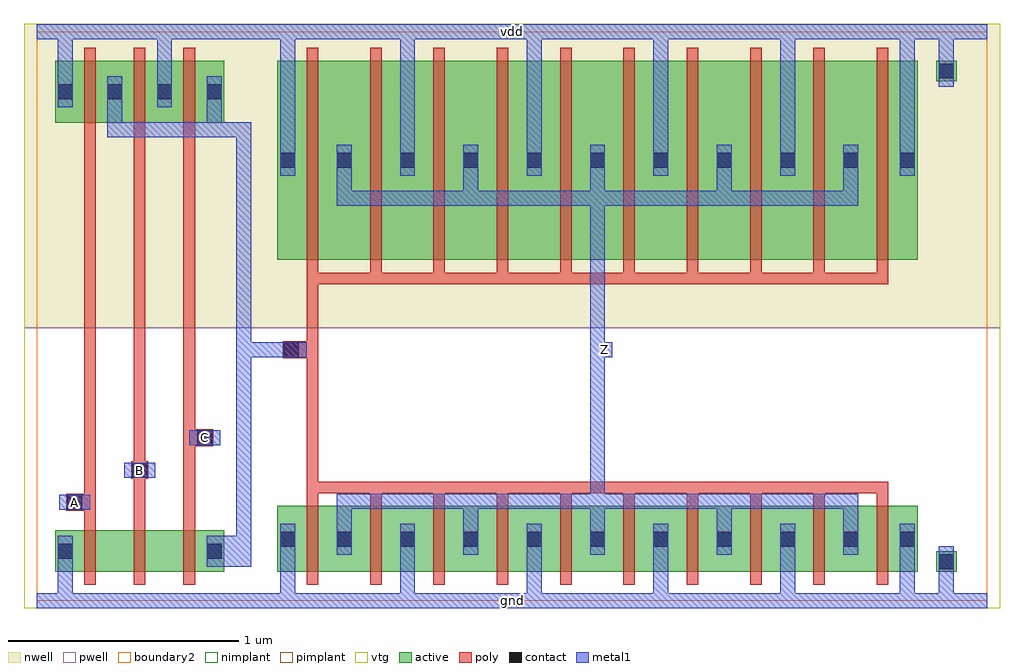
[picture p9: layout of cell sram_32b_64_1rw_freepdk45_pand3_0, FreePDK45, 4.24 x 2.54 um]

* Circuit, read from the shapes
.subckt sram_32b_64_1rw_freepdk45_pand3_0 A B C Z gnd vdd
M1 sram_32b_64_1rw_freepdk45_pnand3_0_0/sram_32b_64_1rw_freepdk45_nmos_m1_w0_180_sm1_dactive_3/D A gnd gnd nfet w=0.18u l=0.05u
M2 sram_32b_64_1rw_freepdk45_pnand3_0_0/sram_32b_64_1rw_freepdk45_nmos_m1_w0_180_sactive_dactive_4/D B sram_32b_64_1rw_freepdk45_pnand3_0_0/sram_32b_64_1rw_freepdk45_nmos_m1_w0_180_sm1_dactive_3/D gnd nfet w=0.18u l=0.05u
M3 sram_32b_64_1rw_freepdk45_pdriver_3_1/A C sram_32b_64_1rw_freepdk45_pnand3_0_0/sram_32b_64_1rw_freepdk45_nmos_m1_w0_180_sactive_dactive_4/D gnd nfet w=0.18u l=0.05u
M4 Z sram_32b_64_1rw_freepdk45_pdriver_3_1/A gnd gnd nfet w=0.2875u l=0.05u m=10
M5 sram_32b_64_1rw_freepdk45_pdriver_3_1/A A vdd vdd pfet w=0.27u l=0.05u
M6 vdd B sram_32b_64_1rw_freepdk45_pdriver_3_1/A vdd pfet w=0.27u l=0.05u
M7 sram_32b_64_1rw_freepdk45_pdriver_3_1/A C vdd vdd pfet w=0.27u l=0.05u
M8 Z sram_32b_64_1rw_freepdk45_pdriver_3_1/A vdd vdd pfet w=0.865u l=0.05u m=10
.ends

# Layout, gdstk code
import gdstk
lib = gdstk.Library(unit=1e-6, precision=5e-10)
def R(c, l, rs):  # rectangles x0, y0, x1, y1
    for r in rs: c.add(gdstk.rectangle(r[:2], r[2:], *l))
def A(c, l, x, y, w, h, nx, ny, dx, dy):  # array of equal rectangles
    R(c, l, [(x+i*dx, y+j*dy, x+i*dx+w, y+j*dy+h) for i in range(nx) for j in range(ny)])
active = (1, 0)
pwell = (2, 0)
nwell = (3, 0)
nimplant = (4, 0)
pimplant = (5, 0)
vtg = (6, 0)
poly = (9, 0)
contact = (10, 0)
metal1 = (11, 0)
boundary2 = (239, 0)

sram_32b_64_1rw_freepdk4 = lib.new_cell('sram_32b_64_1rw_freepdk45_contact_11')
R(sram_32b_64_1rw_freepdk4, active, [(0,0.0225,0.09,0.1125)])
R(sram_32b_64_1rw_freepdk4, nwell, [(-0.055,-0.0325,0.145,0.1675)])
R(sram_32b_64_1rw_freepdk4, pimplant, [(0,0.0225,0.09,0.1125)])
R(sram_32b_64_1rw_freepdk4, contact, [(0.0125,0.035,0.0775,0.1)])
R(sram_32b_64_1rw_freepdk4, metal1, [(0.0125,0,0.0775,0.135)])
R(sram_32b_64_1rw_freepdk4, boundary2, [(-0.055,-0.0325,0.145,0.1675)])

c_sram_32b_64_1rw_freepdk4 = lib.new_cell('sram_32b_64_1rw_freepdk45_pmos_m1_w0_270_sm1_dm1')
R(c_sram_32b_64_1rw_freepdk4, active, [(0,0,0.305,0.27)])
R(c_sram_32b_64_1rw_freepdk4, nwell, [(-0.08,-0.08,0.385,0.35)])
R(c_sram_32b_64_1rw_freepdk4, pimplant, [(0,0,0.305,0.27)])
R(c_sram_32b_64_1rw_freepdk4, vtg, [(-0.08,-0.08,0.385,0.35)])
R(c_sram_32b_64_1rw_freepdk4, poly, [(0.1275,-0.055,0.1775,0.325), (0.1275,-0.055,0.1775,0.325)])
R(c_sram_32b_64_1rw_freepdk4, metal1, [(0.0125,0.0675,0.0775,0.2025), (0.2275,0.0675,0.2925,0.2025)])
R(c_sram_32b_64_1rw_freepdk4, boundary2, [(-0.08,-0.08,0.385,0.35)])
c_sram_32b_64_1rw_freepdk4.add(gdstk.Reference(sram_32b_64_1rw_freepdk4, (0,0.0675)))
c_sram_32b_64_1rw_freepdk4.add(gdstk.Reference(sram_32b_64_1rw_freepdk4, (0.215,0.0675)))
c_sram_32b_64_1rw_freepdk4.add(gdstk.Label('G', (0.1525,0.135), layer=9, texttype=0))
c_sram_32b_64_1rw_freepdk4.add(gdstk.Label('S', (0.045,0.135), layer=11, texttype=0))
c_sram_32b_64_1rw_freepdk4.add(gdstk.Label('D', (0.26,0.135), layer=11, texttype=0))

c_sram_32b_64_1rw_freepdk4_ = lib.new_cell('sram_32b_64_1rw_freepdk45_contact_10')
R(c_sram_32b_64_1rw_freepdk4_, active, [(0,0.0225,0.09,0.1125)])
R(c_sram_32b_64_1rw_freepdk4_, pwell, [(-0.055,-0.0325,0.145,0.1675)])
R(c_sram_32b_64_1rw_freepdk4_, nimplant, [(0,0.0225,0.09,0.1125)])
R(c_sram_32b_64_1rw_freepdk4_, contact, [(0.0125,0.035,0.0775,0.1)])
R(c_sram_32b_64_1rw_freepdk4_, metal1, [(0.0125,0,0.0775,0.135)])
R(c_sram_32b_64_1rw_freepdk4_, boundary2, [(-0.055,-0.0325,0.145,0.1675)])

c_sram_32b_64_1rw_freepdk4__ = lib.new_cell('sram_32b_64_1rw_freepdk45_nmos_m1_w0_180_sm1_dactive')
R(c_sram_32b_64_1rw_freepdk4__, active, [(0,0,0.305,0.18), (0.215,0.045,0.305,0.135)])
R(c_sram_32b_64_1rw_freepdk4__, pwell, [(-0.08,-0.08,0.385,0.26)])
R(c_sram_32b_64_1rw_freepdk4__, nimplant, [(0,0,0.305,0.18)])
R(c_sram_32b_64_1rw_freepdk4__, vtg, [(-0.08,-0.08,0.385,0.26)])
R(c_sram_32b_64_1rw_freepdk4__, poly, [(0.1275,-0.055,0.1775,0.235), (0.1275,-0.055,0.1775,0.235)])
R(c_sram_32b_64_1rw_freepdk4__, metal1, [(0.0125,0.0225,0.0775,0.1575)])
R(c_sram_32b_64_1rw_freepdk4__, boundary2, [(-0.08,-0.08,0.385,0.26)])
c_sram_32b_64_1rw_freepdk4__.add(gdstk.Reference(c_sram_32b_64_1rw_freepdk4_, (0,0.0225)))
c_sram_32b_64_1rw_freepdk4__.add(gdstk.Label('G', (0.1525,0.09), layer=9, texttype=0))
c_sram_32b_64_1rw_freepdk4__.add(gdstk.Label('S', (0.045,0.09), layer=11, texttype=0))
c_sram_32b_64_1rw_freepdk4__.add(gdstk.Label('D', (0.26,0.09), layer=1, texttype=0))

c_sram_32b_64_1rw_freepdk4___ = lib.new_cell('sram_32b_64_1rw_freepdk45_nmos_m1_w0_180_sactive_dactive')
R(c_sram_32b_64_1rw_freepdk4___, active, [(0,0,0.305,0.18), (0,0.045,0.09,0.135), (0.215,0.045,0.305,0.135)])
R(c_sram_32b_64_1rw_freepdk4___, pwell, [(-0.08,-0.08,0.385,0.26)])
R(c_sram_32b_64_1rw_freepdk4___, nimplant, [(0,0,0.305,0.18)])
R(c_sram_32b_64_1rw_freepdk4___, vtg, [(-0.08,-0.08,0.385,0.26)])
R(c_sram_32b_64_1rw_freepdk4___, poly, [(0.1275,-0.055,0.1775,0.235), (0.1275,-0.055,0.1775,0.235)])
R(c_sram_32b_64_1rw_freepdk4___, boundary2, [(-0.08,-0.08,0.385,0.26)])
c_sram_32b_64_1rw_freepdk4___.add(gdstk.Label('G', (0.1525,0.09), layer=9, texttype=0))
c_sram_32b_64_1rw_freepdk4___.add(gdstk.Label('S', (0.045,0.09), layer=1, texttype=0))
c_sram_32b_64_1rw_freepdk4___.add(gdstk.Label('D', (0.26,0.09), layer=1, texttype=0))

c_sram_32b_64_1rw_freepdk4____ = lib.new_cell('sram_32b_64_1rw_freepdk45_nmos_m1_w0_180_sactive_dm1')
R(c_sram_32b_64_1rw_freepdk4____, active, [(0,0,0.305,0.18), (0,0.045,0.09,0.135)])
R(c_sram_32b_64_1rw_freepdk4____, pwell, [(-0.08,-0.08,0.385,0.26)])
R(c_sram_32b_64_1rw_freepdk4____, nimplant, [(0,0,0.305,0.18)])
R(c_sram_32b_64_1rw_freepdk4____, vtg, [(-0.08,-0.08,0.385,0.26)])
R(c_sram_32b_64_1rw_freepdk4____, poly, [(0.1275,-0.055,0.1775,0.235), (0.1275,-0.055,0.1775,0.235)])
R(c_sram_32b_64_1rw_freepdk4____, metal1, [(0.2275,0.0225,0.2925,0.1575)])
R(c_sram_32b_64_1rw_freepdk4____, boundary2, [(-0.08,-0.08,0.385,0.26)])
c_sram_32b_64_1rw_freepdk4____.add(gdstk.Reference(c_sram_32b_64_1rw_freepdk4_, (0.215,0.0225)))
c_sram_32b_64_1rw_freepdk4____.add(gdstk.Label('G', (0.1525,0.09), layer=9, texttype=0))
c_sram_32b_64_1rw_freepdk4____.add(gdstk.Label('S', (0.045,0.09), layer=1, texttype=0))
c_sram_32b_64_1rw_freepdk4____.add(gdstk.Label('D', (0.26,0.09), layer=11, texttype=0))

c_sram_32b_64_1rw_freepdk4_____ = lib.new_cell('sram_32b_64_1rw_freepdk45_contact_14')
R(c_sram_32b_64_1rw_freepdk4_____, poly, [(0.03,0,0.105,0.075)])
R(c_sram_32b_64_1rw_freepdk4_____, contact, [(0.035,0.005,0.1,0.07)])
R(c_sram_32b_64_1rw_freepdk4_____, metal1, [(0,0.005,0.135,0.07)])
R(c_sram_32b_64_1rw_freepdk4_____, boundary2, [(0,0,0.135,0.075)])

c_sram_32b_64_1rw_freepdk4______ = lib.new_cell('sram_32b_64_1rw_freepdk45_pnand3_0')
R(c_sram_32b_64_1rw_freepdk4______, pwell, [(-0.055,-0.0325,1.02,1.185)])
R(c_sram_32b_64_1rw_freepdk4______, nwell, [(-0.055,1.185,1.02,2.505)])
R(c_sram_32b_64_1rw_freepdk4______, vtg, [(-0.055,-0.0325,1.02,1.185), (-0.055,1.185,1.02,2.505)])
A(c_sram_32b_64_1rw_freepdk4______, poly, 0.2075, 0.36, 0.05, 1.66, 3, 1, 0.215, 0)
R(c_sram_32b_64_1rw_freepdk4______, poly, [(0.165,0.39,0.2075,0.465), (0.4225,0.53,0.4475,0.605), (0.6375,0.67,0.73,0.745)])
R(c_sram_32b_64_1rw_freepdk4______, metal1, [(0,-0.0325,0.965,0.0325), (0.0925,-0.0325,0.1575,0.1475), (0.77,0.1475,0.9,0.2825), (0.8675,0.1475,0.9325,2.045), (0.0975,0.395,0.2325,0.46), (0.38,0.535,0.515,0.6), (0.6625,0.675,0.7975,0.74), (0.3075,2.0125,0.3725,2.0775), (0.34,2.0125,0.9,2.0775), (0.7375,2.0125,0.8025,2.0775), (0.77,2.0125,0.9,2.0775), (0.8675,2.0125,0.9325,2.0775), (0.3075,2.045,0.3725,2.21), (0.7375,2.045,0.8025,2.21), (0.0925,2.1425,0.1575,2.5025), (0.5225,2.1425,0.5875,2.5025), (0,2.4375,0.965,2.5025)])
R(c_sram_32b_64_1rw_freepdk4______, boundary2, [(0,0,0.965,2.47), (0,0,0.965,2.47)])
c_sram_32b_64_1rw_freepdk4______.add(gdstk.Reference(c_sram_32b_64_1rw_freepdk4, (0.08,2.075)))
c_sram_32b_64_1rw_freepdk4______.add(gdstk.Reference(c_sram_32b_64_1rw_freepdk4, (0.295,2.075)))
c_sram_32b_64_1rw_freepdk4______.add(gdstk.Reference(c_sram_32b_64_1rw_freepdk4, (0.51,2.075)))
c_sram_32b_64_1rw_freepdk4______.add(gdstk.Reference(c_sram_32b_64_1rw_freepdk4__, (0.08,0.125)))
c_sram_32b_64_1rw_freepdk4______.add(gdstk.Reference(c_sram_32b_64_1rw_freepdk4___, (0.295,0.125)))
c_sram_32b_64_1rw_freepdk4______.add(gdstk.Reference(c_sram_32b_64_1rw_freepdk4____, (0.51,0.125)))
c_sram_32b_64_1rw_freepdk4______.add(gdstk.Reference(c_sram_32b_64_1rw_freepdk4_____, (0.0975,0.39)))
c_sram_32b_64_1rw_freepdk4______.add(gdstk.Reference(c_sram_32b_64_1rw_freepdk4_____, (0.38,0.53)))
c_sram_32b_64_1rw_freepdk4______.add(gdstk.Reference(c_sram_32b_64_1rw_freepdk4_____, (0.6625,0.67)))
c_sram_32b_64_1rw_freepdk4______.add(gdstk.Label('A', (0.165,0.4275), layer=11, texttype=0))
c_sram_32b_64_1rw_freepdk4______.add(gdstk.Label('B', (0.4475,0.5675), layer=11, texttype=0))
c_sram_32b_64_1rw_freepdk4______.add(gdstk.Label('C', (0.73,0.7075), layer=11, texttype=0))
c_sram_32b_64_1rw_freepdk4______.add(gdstk.Label('Z', (0.9,2.045), layer=11, texttype=0))
c_sram_32b_64_1rw_freepdk4______.add(gdstk.Label('gnd', (0.4825,0), layer=11, texttype=0))
c_sram_32b_64_1rw_freepdk4______.add(gdstk.Label('vdd', (0.4825,2.47), layer=11, texttype=0))

c_sram_32b_64_1rw_freepdk4_______ = lib.new_cell('sram_32b_64_1rw_freepdk45_pmos_m10_w0_865_sm1_dm1_da_p')
R(c_sram_32b_64_1rw_freepdk4_______, active, [(0,0,2.78,0.865)])
R(c_sram_32b_64_1rw_freepdk4_______, nwell, [(-0.08,-0.08,2.86,0.945)])
R(c_sram_32b_64_1rw_freepdk4_______, pimplant, [(0,0,2.78,0.865)])
R(c_sram_32b_64_1rw_freepdk4_______, vtg, [(-0.08,-0.08,2.86,0.945)])
A(c_sram_32b_64_1rw_freepdk4_______, poly, 0.1275, -0.055, 0.05, 0.975, 10, 1, 0.275, 0)
R(c_sram_32b_64_1rw_freepdk4_______, poly, [(0.1275,-0.105,2.6525,-0.055)])
A(c_sram_32b_64_1rw_freepdk4_______, metal1, 0.2575, 0.2675, 0.065, 0.165, 5, 1, 0.55, 0)
A(c_sram_32b_64_1rw_freepdk4_______, metal1, 0.5325, 0.365, 0.065, 0.135, 4, 1, 0.55, 0)
R(c_sram_32b_64_1rw_freepdk4_______, metal1, [(0.2575,0.235,2.5225,0.3), (0.0125,0.365,0.0775,0.5), (2.7025,0.365,2.7675,0.5)])
R(c_sram_32b_64_1rw_freepdk4_______, boundary2, [(-0.08,-0.105,2.86,0.945)])
c_sram_32b_64_1rw_freepdk4_______.add(gdstk.Reference(sram_32b_64_1rw_freepdk4, (0,0.365)))
c_sram_32b_64_1rw_freepdk4_______.add(gdstk.Reference(sram_32b_64_1rw_freepdk4, (0.245,0.365)))
c_sram_32b_64_1rw_freepdk4_______.add(gdstk.Reference(sram_32b_64_1rw_freepdk4, (0.52,0.365)))
c_sram_32b_64_1rw_freepdk4_______.add(gdstk.Reference(sram_32b_64_1rw_freepdk4, (0.795,0.365)))
c_sram_32b_64_1rw_freepdk4_______.add(gdstk.Reference(sram_32b_64_1rw_freepdk4, (1.07,0.365)))
c_sram_32b_64_1rw_freepdk4_______.add(gdstk.Reference(sram_32b_64_1rw_freepdk4, (1.345,0.365)))
c_sram_32b_64_1rw_freepdk4_______.add(gdstk.Reference(sram_32b_64_1rw_freepdk4, (1.62,0.365)))
c_sram_32b_64_1rw_freepdk4_______.add(gdstk.Reference(sram_32b_64_1rw_freepdk4, (1.895,0.365)))
c_sram_32b_64_1rw_freepdk4_______.add(gdstk.Reference(sram_32b_64_1rw_freepdk4, (2.17,0.365)))
c_sram_32b_64_1rw_freepdk4_______.add(gdstk.Reference(sram_32b_64_1rw_freepdk4, (2.445,0.365)))
c_sram_32b_64_1rw_freepdk4_______.add(gdstk.Reference(sram_32b_64_1rw_freepdk4, (2.69,0.365)))
c_sram_32b_64_1rw_freepdk4_______.add(gdstk.Label('G', (1.39,-0.08), layer=9, texttype=0))
c_sram_32b_64_1rw_freepdk4_______.add(gdstk.Label('S', (2.215,0.4325), layer=11, texttype=0))
c_sram_32b_64_1rw_freepdk4_______.add(gdstk.Label('S', (1.115,0.4325), layer=11, texttype=0))
c_sram_32b_64_1rw_freepdk4_______.add(gdstk.Label('S', (0.565,0.4325), layer=11, texttype=0))
c_sram_32b_64_1rw_freepdk4_______.add(gdstk.Label('S', (2.735,0.4325), layer=11, texttype=0))
c_sram_32b_64_1rw_freepdk4_______.add(gdstk.Label('S', (0.045,0.4325), layer=11, texttype=0))
c_sram_32b_64_1rw_freepdk4_______.add(gdstk.Label('S', (1.665,0.4325), layer=11, texttype=0))
c_sram_32b_64_1rw_freepdk4_______.add(gdstk.Label('D', (1.39,0.2675), layer=11, texttype=0))

c_sram_32b_64_1rw_freepdk4________ = lib.new_cell('sram_32b_64_1rw_freepdk45_nmos_m10_w0_288_sm1_dm1_da_p')
R(c_sram_32b_64_1rw_freepdk4________, active, [(0,0,2.78,0.2875)])
R(c_sram_32b_64_1rw_freepdk4________, pwell, [(-0.08,-0.08,2.86,0.3675)])
R(c_sram_32b_64_1rw_freepdk4________, nimplant, [(0,0,2.78,0.2875)])
R(c_sram_32b_64_1rw_freepdk4________, vtg, [(-0.08,-0.08,2.86,0.3675)])
A(c_sram_32b_64_1rw_freepdk4________, poly, 0.1275, -0.055, 0.05, 0.3975, 10, 1, 0.275, 0)
R(c_sram_32b_64_1rw_freepdk4________, poly, [(0.1275,0.3425,2.6525,0.3925)])
A(c_sram_32b_64_1rw_freepdk4________, metal1, 0.5325, 0.075, 0.065, 0.135, 4, 1, 0.55, 0)
A(c_sram_32b_64_1rw_freepdk4________, metal1, 0.2575, 0.145, 0.065, 0.165, 5, 1, 0.55, 0)
R(c_sram_32b_64_1rw_freepdk4________, metal1, [(0.0125,0.075,0.0775,0.21), (2.7025,0.075,2.7675,0.21), (0.2575,0.275,2.5225,0.34)])
R(c_sram_32b_64_1rw_freepdk4________, boundary2, [(-0.08,-0.08,2.86,0.3925)])
c_sram_32b_64_1rw_freepdk4________.add(gdstk.Reference(c_sram_32b_64_1rw_freepdk4_, (0,0.075)))
c_sram_32b_64_1rw_freepdk4________.add(gdstk.Reference(c_sram_32b_64_1rw_freepdk4_, (0.245,0.075)))
c_sram_32b_64_1rw_freepdk4________.add(gdstk.Reference(c_sram_32b_64_1rw_freepdk4_, (0.52,0.075)))
c_sram_32b_64_1rw_freepdk4________.add(gdstk.Reference(c_sram_32b_64_1rw_freepdk4_, (0.795,0.075)))
c_sram_32b_64_1rw_freepdk4________.add(gdstk.Reference(c_sram_32b_64_1rw_freepdk4_, (1.07,0.075)))
c_sram_32b_64_1rw_freepdk4________.add(gdstk.Reference(c_sram_32b_64_1rw_freepdk4_, (1.345,0.075)))
c_sram_32b_64_1rw_freepdk4________.add(gdstk.Reference(c_sram_32b_64_1rw_freepdk4_, (1.62,0.075)))
c_sram_32b_64_1rw_freepdk4________.add(gdstk.Reference(c_sram_32b_64_1rw_freepdk4_, (1.895,0.075)))
c_sram_32b_64_1rw_freepdk4________.add(gdstk.Reference(c_sram_32b_64_1rw_freepdk4_, (2.17,0.075)))
c_sram_32b_64_1rw_freepdk4________.add(gdstk.Reference(c_sram_32b_64_1rw_freepdk4_, (2.445,0.075)))
c_sram_32b_64_1rw_freepdk4________.add(gdstk.Reference(c_sram_32b_64_1rw_freepdk4_, (2.69,0.075)))
c_sram_32b_64_1rw_freepdk4________.add(gdstk.Label('G', (1.39,0.3675), layer=9, texttype=0))
c_sram_32b_64_1rw_freepdk4________.add(gdstk.Label('S', (1.665,0.1425), layer=11, texttype=0))
c_sram_32b_64_1rw_freepdk4________.add(gdstk.Label('S', (2.215,0.1425), layer=11, texttype=0))
c_sram_32b_64_1rw_freepdk4________.add(gdstk.Label('S', (1.115,0.1425), layer=11, texttype=0))
c_sram_32b_64_1rw_freepdk4________.add(gdstk.Label('S', (0.045,0.1425), layer=11, texttype=0))
c_sram_32b_64_1rw_freepdk4________.add(gdstk.Label('S', (0.565,0.1425), layer=11, texttype=0))
c_sram_32b_64_1rw_freepdk4________.add(gdstk.Label('S', (2.735,0.1425), layer=11, texttype=0))
c_sram_32b_64_1rw_freepdk4________.add(gdstk.Label('D', (1.39,0.3075), layer=11, texttype=0))

c_sram_32b_64_1rw_freepdk4_________ = lib.new_cell('sram_32b_64_1rw_freepdk45_contact_12')
R(c_sram_32b_64_1rw_freepdk4_________, active, [(0,0.0225,0.09,0.1125)])
R(c_sram_32b_64_1rw_freepdk4_________, nwell, [(-0.055,-0.0325,0.145,0.1675)])
R(c_sram_32b_64_1rw_freepdk4_________, nimplant, [(0,0.0225,0.09,0.1125)])
R(c_sram_32b_64_1rw_freepdk4_________, contact, [(0.0125,0.035,0.0775,0.1)])
R(c_sram_32b_64_1rw_freepdk4_________, metal1, [(0.0125,0,0.0775,0.135)])
R(c_sram_32b_64_1rw_freepdk4_________, boundary2, [(-0.055,-0.0325,0.145,0.1675)])

c_sram_32b_64_1rw_freepdk4__________ = lib.new_cell('sram_32b_64_1rw_freepdk45_contact_13')
R(c_sram_32b_64_1rw_freepdk4__________, active, [(0,0.0225,0.09,0.1125)])
R(c_sram_32b_64_1rw_freepdk4__________, pwell, [(-0.055,-0.0325,0.145,0.1675)])
R(c_sram_32b_64_1rw_freepdk4__________, pimplant, [(0,0.0225,0.09,0.1125)])
R(c_sram_32b_64_1rw_freepdk4__________, contact, [(0.0125,0.035,0.0775,0.1)])
R(c_sram_32b_64_1rw_freepdk4__________, metal1, [(0.0125,0,0.0775,0.135)])
R(c_sram_32b_64_1rw_freepdk4__________, boundary2, [(-0.055,-0.0325,0.145,0.1675)])

c_sram_32b_64_1rw_freepdk4___________ = lib.new_cell('sram_32b_64_1rw_freepdk45_pinv_14')
R(c_sram_32b_64_1rw_freepdk4___________, pwell, [(-0.055,-0.0325,3.2175,1.185)])
R(c_sram_32b_64_1rw_freepdk4___________, nwell, [(-0.055,1.185,3.2175,2.505)])
R(c_sram_32b_64_1rw_freepdk4___________, vtg, [(-0.055,-0.0325,3.2175,1.185), (-0.055,1.185,3.2175,2.505)])
R(c_sram_32b_64_1rw_freepdk4___________, poly, [(0.2075,0.5175,0.2575,1.375), (0.14,1.0525,0.2075,1.1275)])
A(c_sram_32b_64_1rw_freepdk4___________, metal1, 0.6125, -0.0325, 0.065, 0.2325, 4, 1, 0.55, 0)
A(c_sram_32b_64_1rw_freepdk4___________, metal1, 0.6125, 1.845, 0.065, 0.6575, 4, 1, 0.55, 0)
R(c_sram_32b_64_1rw_freepdk4___________, metal1, [(0,-0.0325,3.1625,0.0325), (0.0925,-0.0325,0.1575,0.2), (2.7825,-0.0325,2.8475,0.2), (2.9525,0,3.0175,0.17), (1.4375,0.4,1.5025,1.78), (0.0725,1.0575,0.2075,1.1225), (1.47,1.0575,1.535,1.1225), (0.0925,1.845,0.1575,2.5025), (2.7825,1.845,2.8475,2.5025), (2.9525,2.3,3.0175,2.47), (0,2.4375,3.1625,2.5025)])
R(c_sram_32b_64_1rw_freepdk4___________, boundary2, [(0,0,3.1625,2.47), (0,0,3.1625,2.47)])
c_sram_32b_64_1rw_freepdk4___________.add(gdstk.Reference(c_sram_32b_64_1rw_freepdk4_______, (0.08,1.48)))
c_sram_32b_64_1rw_freepdk4___________.add(gdstk.Reference(c_sram_32b_64_1rw_freepdk4________, (0.08,0.125)))
c_sram_32b_64_1rw_freepdk4___________.add(gdstk.Reference(c_sram_32b_64_1rw_freepdk4_________, (2.94,2.2325)))
c_sram_32b_64_1rw_freepdk4___________.add(gdstk.Reference(c_sram_32b_64_1rw_freepdk4__________, (2.94,0.1025)))
c_sram_32b_64_1rw_freepdk4___________.add(gdstk.Reference(c_sram_32b_64_1rw_freepdk4_____, (0.0725,1.0525)))
c_sram_32b_64_1rw_freepdk4___________.add(gdstk.Label('A', (0.14,1.09), layer=11, texttype=0))
c_sram_32b_64_1rw_freepdk4___________.add(gdstk.Label('Z', (1.5025,1.09), layer=11, texttype=0))
c_sram_32b_64_1rw_freepdk4___________.add(gdstk.Label('gnd', (1.581,0), layer=11, texttype=0))
c_sram_32b_64_1rw_freepdk4___________.add(gdstk.Label('vdd', (1.581,2.47), layer=11, texttype=0))

c_sram_32b_64_1rw_freepdk4____________ = lib.new_cell('sram_32b_64_1rw_freepdk45_pdriver_3')
R(c_sram_32b_64_1rw_freepdk4____________, pwell, [(-0.055,-0.0325,3.2175,1.185)])
R(c_sram_32b_64_1rw_freepdk4____________, nwell, [(-0.055,1.185,3.2175,2.505)])
R(c_sram_32b_64_1rw_freepdk4____________, vtg, [(-0.055,-0.0325,3.2175,1.185), (-0.055,1.185,3.2175,2.505)])
R(c_sram_32b_64_1rw_freepdk4____________, metal1, [(0,-0.0325,3.1625,0.0325), (0.0725,1.0575,0.2075,1.1225), (1.47,1.0575,1.535,1.1225), (0,2.4375,3.1625,2.5025)])
R(c_sram_32b_64_1rw_freepdk4____________, boundary2, [(0,0,3.1625,2.47), (0,0,3.1625,2.47)])
c_sram_32b_64_1rw_freepdk4____________.add(gdstk.Reference(c_sram_32b_64_1rw_freepdk4___________, (0,0)))
c_sram_32b_64_1rw_freepdk4____________.add(gdstk.Label('Z', (1.5025,1.09), layer=11, texttype=0))
c_sram_32b_64_1rw_freepdk4____________.add(gdstk.Label('A', (0.14,1.09), layer=11, texttype=0))
c_sram_32b_64_1rw_freepdk4____________.add(gdstk.Label('gnd', (1.581,0), layer=11, texttype=0))
c_sram_32b_64_1rw_freepdk4____________.add(gdstk.Label('vdd', (1.581,2.47), layer=11, texttype=0))

c_sram_32b_64_1rw_freepdk4_____________ = lib.new_cell('sram_32b_64_1rw_freepdk45_pand3_0')
R(c_sram_32b_64_1rw_freepdk4_____________, metal1, [(0,-0.0325,4.1275,0.0325), (0.0975,0.395,0.2325,0.46), (0.38,0.535,0.515,0.6), (0.6625,0.675,0.7975,0.74), (0.8675,1.0575,0.9325,1.1225), (0.9,1.0575,1.105,1.1225), (2.435,1.0575,2.5,1.1225), (0.8675,1.09,0.9325,2.045), (0,2.4375,4.1275,2.5025)])
R(c_sram_32b_64_1rw_freepdk4_____________, boundary2, [(0,0,4.1275,2.47), (0,0,4.1275,2.47)])
c_sram_32b_64_1rw_freepdk4_____________.add(gdstk.Reference(c_sram_32b_64_1rw_freepdk4______, (0,0)))
c_sram_32b_64_1rw_freepdk4_____________.add(gdstk.Reference(c_sram_32b_64_1rw_freepdk4____________, (0.965,0)))
c_sram_32b_64_1rw_freepdk4_____________.add(gdstk.Label('Z', (2.4675,1.09), layer=11, texttype=0))
c_sram_32b_64_1rw_freepdk4_____________.add(gdstk.Label('A', (0.165,0.4275), layer=11, texttype=0))
c_sram_32b_64_1rw_freepdk4_____________.add(gdstk.Label('B', (0.4475,0.5675), layer=11, texttype=0))
c_sram_32b_64_1rw_freepdk4_____________.add(gdstk.Label('C', (0.73,0.7075), layer=11, texttype=0))
c_sram_32b_64_1rw_freepdk4_____________.add(gdstk.Label('gnd', (2.064,0), layer=11, texttype=0))
c_sram_32b_64_1rw_freepdk4_____________.add(gdstk.Label('vdd', (2.064,2.47), layer=11, texttype=0))

lib.write_gds('sram_32b_64_1rw_freepdk45_pand3_0.gds')
